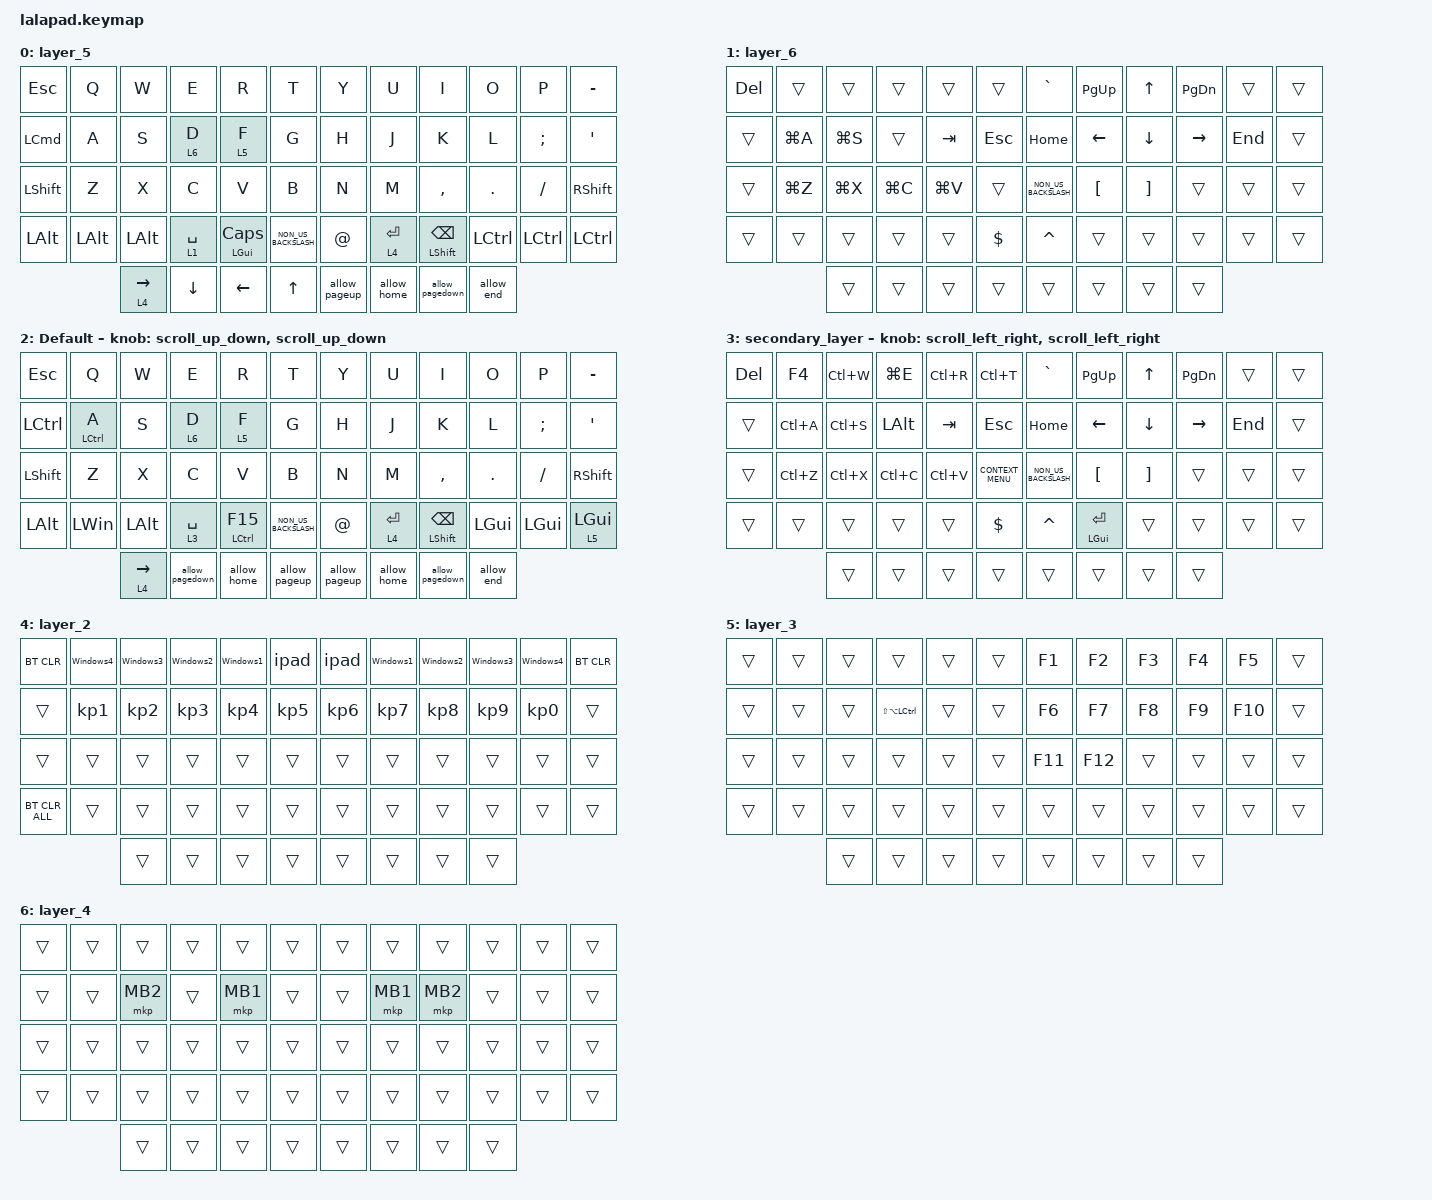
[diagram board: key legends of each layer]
#include <input/processors.dtsi>
#include <behaviors.dtsi>
#include <dt-bindings/zmk/bt.h>
#include <dt-bindings/zmk/keys.h>
#include <dt-bindings/zmk/pointing.h>

#define DEFAULT_LAYER   0
#define SECONDARY_LAYER 1
#define TERTIARY_LAYER  2
#define SYSTEM_LAYER    3
#define MOUSE_R_LAYER   4
#define SCROLL_R_LAYER  5
#define MOUSE_L_LAYER   6
#define SCROLL_L_LAYER  7

// Mouse Scroll Value

#define ZMK_POINTING_DEFAULT_SCRL_VAL 100

// cirque trackpad input&layer control

&glidepoint_listener_R {
    input-processors =
        <&zip_xy_transform (INPUT_TRANSFORM_XY_SWAP | INPUT_TRANSFORM_X_INVERT | INPUT_TRANSFORM_Y_INVERT)>,
        <&zip_xy_scaler 3 1>;

    //<&zip_temp_layer MOUSE_R_LAYER 500>;

    lowspeedmode {
        layers = <SECONDARY_LAYER>;
        input-processors =
            <&zip_xy_transform (INPUT_TRANSFORM_XY_SWAP | INPUT_TRANSFORM_X_INVERT | INPUT_TRANSFORM_Y_INVERT)>,
            <&zip_xy_scaler 3 5>;

        //<&zip_temp_layer MOUSE_R_LAYER 500>;
    };

    scroller {
        layers = <SYSTEM_LAYER>;
        input-processors =
            <&zip_xy_to_scroll_mapper>,
            <&zip_scroll_transform (INPUT_TRANSFORM_XY_SWAP | INPUT_TRANSFORM_Y_INVERT)>,
            <&zip_scroll_scaler 1 6>;
    };
};

&glidepoint_listener_L {
    input-processors =
        <&zip_xy_transform (INPUT_TRANSFORM_XY_SWAP | INPUT_TRANSFORM_X_INVERT | INPUT_TRANSFORM_Y_INVERT)>,
        <&zip_xy_scaler 3 1>,
        <&zip_temp_layer MOUSE_L_LAYER 500>;

    lowspeedmode {
        layers = <SECONDARY_LAYER>;
        input-processors =
            <&zip_xy_transform (INPUT_TRANSFORM_XY_SWAP | INPUT_TRANSFORM_X_INVERT | INPUT_TRANSFORM_Y_INVERT)>,
            <&zip_xy_scaler 3 4>,
            <&zip_temp_layer MOUSE_L_LAYER 500>;
    };

    scroller {
        layers = <SYSTEM_LAYER>;
        input-processors =
            <&zip_xy_to_scroll_mapper>,
            <&zip_scroll_transform (INPUT_TRANSFORM_XY_SWAP | INPUT_TRANSFORM_Y_INVERT)>,
            <&zip_scroll_scaler 1 6>;
    };
};

/ {
    behaviors {
        // Encoder to Mouse Scroll

        scroll_up_down: sensor_scroll_up_down {
            compatible = "zmk,behavior-sensor-rotate";
            #sensor-binding-cells = <0>;
            bindings = <&msc SCRL_UP>, <&msc SCRL_DOWN>;

            tap-ms = <20>;
            label = "SCROLL_UP_DOWN";
        };

        scroll_down_up: sensor_scroll_down_up {
            compatible = "zmk,behavior-sensor-rotate";
            #sensor-binding-cells = <0>;
            bindings = <&msc SCRL_DOWN>, <&msc SCRL_UP>;

            tap-ms = <20>;
            label = "SCROLL_DOWN_UP";
        };

        scroll_left_right: sensor_scroll_left_right {
            compatible = "zmk,behavior-sensor-rotate";
            #sensor-binding-cells = <0>;
            bindings = <&msc SCRL_LEFT>, <&msc SCRL_RIGHT>;

            tap-ms = <20>;
            label = "SCROLL_LEFT_RIGHT";
        };

        scroll_right_left: sensor_scroll_right_left {
            compatible = "zmk,behavior-sensor-rotate";
            #sensor-binding-cells = <0>;
            bindings = <&msc SCRL_RIGHT>, <&msc SCRL_LEFT>;

            tap-ms = <20>;
            label = "SCROLL_RIGHT_LEFT";
        };

        volume_up_down: sensor_volume_up_down {
            compatible = "zmk,behavior-sensor-rotate";
            #sensor-binding-cells = <0>;
            bindings = <&kp C_VOLUME_UP>, <&kp C_VOLUME_DOWN>;

            tap-ms = <20>;
            label = "VOLUME_UP_DOWN";
        };

        dot_comma: dot_comma {
            compatible = "zmk,behavior-mod-morph";
            #binding-cells = <0>;
            bindings = <&kp KP_DOT>, <&kp COMMA>;

            mods = <(MOD_LSFT|MOD_RSFT)>;
            label = "DOT_COMMA";
        };

        pls_minus: pls_minus {
            compatible = "zmk,behavior-mod-morph";
            #binding-cells = <0>;
            bindings = <&kp PLUS>, <&kp MINUS>;

            mods = <(MOD_LSFT|MOD_RSFT)>;
            label = "PLS_MINUS";
        };

        allow_pageup: allow_pageup {
            compatible = "zmk,behavior-mod-morph";
            #binding-cells = <0>;
            bindings = <&kp UP>, <&kp PAGE_UP>;

            mods = <(MOD_LCTL|MOD_RCTL)>;
            label = "ALLOW_PAGEUP";
        };

        allow_pagedown: allow_pagedown {
            compatible = "zmk,behavior-mod-morph";
            #binding-cells = <0>;
            bindings = <&kp DOWN>, <&kp PAGE_DOWN>;

            mods = <(MOD_LCTL|MOD_RCTL)>;
            label = "ALLOW_PAGEDOWN";
        };

        allow_home: allow_home {
            compatible = "zmk,behavior-mod-morph";
            #binding-cells = <0>;
            bindings = <&kp LEFT>, <&kp HOME>;

            mods = <(MOD_LCTL|MOD_RCTL)>;
            label = "ALLOW_HOME";
        };

        allow_end: allow_end {
            compatible = "zmk,behavior-mod-morph";
            #binding-cells = <0>;
            bindings = <&kp RIGHT>, <&kp END>;

            mods = <(MOD_LCTL|MOD_RCTL)>;
            label = "ALLOW_END";
        };

        mt2: mod_tap2 {
            compatible = "zmk,behavior-hold-tap";
            #binding-cells = <2>;
            flavor = "tap-preferred";
            tapping-term-ms = <200>;
            quick-tap-ms = <200>;
            require-prior-idle-ms = <125>;
            bindings = <&kp>, <&kp>;
        };
    };

    combos {
        compatible = "zmk,combos";

        and {
            bindings = <&kp AMPERSAND>;
            key-positions = <16 15>;
        };

        ast {
            bindings = <&kp ASTERISK>;
            key-positions = <16 19>;
        };

        lkako {
            bindings = <&kp LEFT_PARENTHESIS>;
            key-positions = <27 28>;
        };

        rkako {
            bindings = <&kp RIGHT_PARENTHESIS>;
            key-positions = <31 32>;
        };

        bikkuri {
            bindings = <&kp EXCLAMATION>;
            key-positions = <1 2>;
        };

        hash {
            bindings = <&kp HASH>;
            key-positions = <2 3 4>;
        };

        pacent {
            bindings = <&kp PERCENT>;
            key-positions = <19 20 21>;
        };

        equal {
            bindings = <&kp EQUAL>;
            key-positions = <19 20>;
        };

        underscore {
            bindings = <&kp UNDERSCORE>;
            key-positions = <31 32 33>;
        };

        gui1 {
            bindings = <&kp LG(NUMBER_1)>;
            key-positions = <40 19>;
        };

        gui2 {
            bindings = <&kp LG(NUMBER_2)>;
            key-positions = <40 20>;
        };

        gui3 {
            bindings = <&kp LG(NUMBER_3)>;
            key-positions = <40 21>;
        };

        gui4 {
            bindings = <&kp LG(NUMBER_4)>;
            key-positions = <40 22>;
        };

        gui5 {
            bindings = <&kp LG(N5)>;
            key-positions = <40 18>;
        };

        gui6 {
            bindings = <&kp LG(NUMBER_6)>;
            key-positions = <40 31>;
        };

        gui7 {
            bindings = <&kp LG(N7)>;
            key-positions = <40 32>;
        };

        gui8 {
            bindings = <&kp LG(N8)>;
            key-positions = <40 33>;
        };

        gui9 {
            bindings = <&kp LG(N9)>;
            key-positions = <40 34>;
        };

        plus {
            bindings = <&kp KP_PLUS>;
            key-positions = <19 18>;
        };
    };

    macros {
        ipad: ipad {
            compatible = "zmk,behavior-macro";
            #binding-cells = <0>;
            bindings = <&bt BT_SEL 0 &to 0>;
            label = "IPAD";
        };

        Windows1: Windows1 {
            compatible = "zmk,behavior-macro";
            #binding-cells = <0>;
            bindings = <&bt BT_SEL 1 &to 2>;
            label = "WINDOWS1";
        };

        Windows2: Windows2 {
            compatible = "zmk,behavior-macro";
            #binding-cells = <0>;
            bindings = <&bt BT_SEL 2 &to 2>;
            label = "WINDOWS2";
        };

        Windows3: Windows3 {
            compatible = "zmk,behavior-macro";
            #binding-cells = <0>;
            bindings = <&bt BT_SEL 3 &to 2>;
            label = "WINDOWS3";
        };

        Windows4: Windows4 {
            compatible = "zmk,behavior-macro";
            #binding-cells = <0>;
            bindings = <&bt BT_SEL 4 &to 2>;
            label = "WINDOWS4";
        };
    };

    keymap {
        compatible = "zmk,keymap";

        layer_5 {
            bindings = <
&kp ESC       &kp Q         &kp W              &kp E           &kp R              &kp T                 &kp Y          &kp U        &kp I                     &kp O       &kp P      &kp MINUS
&kp LCMD      &kp A         &kp S              &lt 6 D         &lt 5 F            &kp G                 &kp H          &kp J        &kp K                     &kp L       &kp SEMI   &kp APOS
&kp LSHFT     &kp Z         &kp X              &kp C           &kp V              &kp B                 &kp N          &kp M        &kp COMMA                 &kp DOT     &kp FSLH   &kp RSHFT
&kp LEFT_ALT  &kp LEFT_ALT  &kp LEFT_ALT       &lt 1 SPACE     &mt LEFT_GUI CLCK  &kp NON_US_BACKSLASH  &kp AT_SIGN    &lt 4 ENTER  &mt LEFT_SHIFT BACKSPACE  &kp LCTRL   &kp LCTRL  &kp LCTRL
                            &lt 4 RIGHT_ARROW  &kp DOWN_ARROW  &kp LEFT_ARROW     &kp UP_ARROW          &allow_pageup  &allow_home  &allow_pagedown           &allow_end
            >;
        };

        layer_6 {
            bindings = <
&kp DELETE  &trans     &trans     &trans     &trans     &trans      &kp GRAVE             &kp PAGE_UP       &kp UP_ARROW       &kp PAGE_DOWN    &trans   &trans
&trans      &kp LG(A)  &kp LG(S)  &trans     &kp TAB    &kp ESCAPE  &kp HOME              &kp LEFT_ARROW    &kp DOWN_ARROW     &kp RIGHT_ARROW  &kp END  &trans
&trans      &kp LG(Z)  &kp LG(X)  &kp LG(C)  &kp LG(V)  &trans      &kp NON_US_BACKSLASH  &kp LEFT_BRACKET  &kp RIGHT_BRACKET  &trans           &trans   &trans
&trans      &trans     &trans     &trans     &trans     &kp DOLLAR  &kp CARET             &trans            &trans             &trans           &trans   &trans
                       &trans     &trans     &trans     &trans      &trans                &trans            &trans             &trans
            >;
        };

        DEFAULT_LAYER {
            display-name = "Default";
            sensor-bindings = <&scroll_up_down>, <&scroll_up_down>;

            bindings = <
&kp ESCAPE    &kp Q         &kp W         &kp E            &kp R          &kp T                 &kp Y          &kp U        &kp I                 &kp O         &kp P          &kp MINUS
&kp LCTRL     &mt2 LCTRL A  &kp S         &lt 6 D          &lt 5 F        &kp G                 &kp H          &kp J        &kp K                 &kp L         &kp SEMICOLON  &kp SQT
&kp LSHFT     &kp Z         &kp X         &kp C            &kp V          &kp B                 &kp N          &kp M        &kp COMMA             &kp PERIOD    &kp SLASH      &kp RIGHT_SHIFT
&kp LEFT_ALT  &kp LEFT_WIN  &kp LEFT_ALT  &lt 3 SPACE      &mt LCTRL F15  &kp NON_US_BACKSLASH  &kp AT_SIGN    &lt 4 ENTER  &mt LSHIFT BACKSPACE  &kp LEFT_GUI  &kp LEFT_GUI   &lt 5 LEFT_GUI
                            &lt 4 RIGHT   &allow_pagedown  &allow_home    &allow_pageup         &allow_pageup  &allow_home  &allow_pagedown       &allow_end
            >;
        };

        SECONDARY_LAYER {
            display-name = "secondary_layer";
            sensor-bindings = <&scroll_left_right>, <&scroll_left_right>;

            bindings = <
&kp DEL  &kp F4     &kp LC(W)  &kp LG(E)     &kp LC(R)  &kp LC(T)           &kp GRAVE             &kp PAGE_UP         &kp UP_ARROW       &kp PAGE_DOWN  &trans   &trans
&trans   &kp LC(A)  &kp LC(S)  &kp LEFT_ALT  &kp TAB    &kp ESCAPE          &kp HOME              &kp LEFT            &kp DOWN           &kp RIGHT      &kp END  &trans
&trans   &kp LC(Z)  &kp LC(X)  &kp LC(C)     &kp LC(V)  &kp K_CONTEXT_MENU  &kp NON_US_BACKSLASH  &kp LEFT_BRACKET    &kp RIGHT_BRACKET  &trans         &trans   &trans
&trans   &trans     &trans     &trans        &trans     &kp DOLLAR          &kp CARET             &mt LEFT_GUI ENTER  &trans             &trans         &trans   &trans
                    &trans     &trans        &trans     &trans              &trans                &trans              &trans             &trans
            >;
        };

        layer_2 {
            bindings = <
&bt BT_CLR      &Windows4        &Windows3        &Windows2        &Windows1        &ipad            &ipad            &Windows1        &Windows2        &Windows3        &Windows4        &bt BT_CLR
&trans          &kp KP_NUMBER_1  &kp KP_NUMBER_2  &kp KP_NUMBER_3  &kp KP_NUMBER_4  &kp KP_NUMBER_5  &kp KP_NUMBER_6  &kp KP_NUMBER_7  &kp KP_NUMBER_8  &kp KP_NUMBER_9  &kp KP_NUMBER_0  &trans
&trans          &trans           &trans           &trans           &trans           &trans           &trans           &trans           &trans           &trans           &trans           &trans
&bt BT_CLR_ALL  &trans           &trans           &trans           &trans           &trans           &trans           &trans           &trans           &trans           &trans           &trans
                                 &trans           &trans           &trans           &trans           &trans           &trans           &trans           &trans
            >;
        };

        layer_3 {
            bindings = <
&trans  &trans  &trans  &trans             &trans  &trans  &kp F1   &kp F2   &kp F3  &kp F4  &kp F5   &trans
&trans  &trans  &trans  &kp LS(LA(LCTRL))  &trans  &trans  &kp F6   &kp F7   &kp F8  &kp F9  &kp F10  &trans
&trans  &trans  &trans  &trans             &trans  &trans  &kp F11  &kp F12  &trans  &trans  &trans   &trans
&trans  &trans  &trans  &trans             &trans  &trans  &trans   &trans   &trans  &trans  &trans   &trans
                &trans  &trans             &trans  &trans  &trans   &trans   &trans  &trans
            >;
        };

        layer_4 {
            bindings = <
&trans  &trans  &trans    &trans  &trans    &trans  &trans  &trans    &trans    &trans  &trans  &trans
&trans  &trans  &mkp MB2  &trans  &mkp MB1  &trans  &trans  &mkp MB1  &mkp MB2  &trans  &trans  &trans
&trans  &trans  &trans    &trans  &trans    &trans  &trans  &trans    &trans    &trans  &trans  &trans
&trans  &trans  &trans    &trans  &trans    &trans  &trans  &trans    &trans    &trans  &trans  &trans
                &trans    &trans  &trans    &trans  &trans  &trans    &trans    &trans
            >;
        };
    };
};
